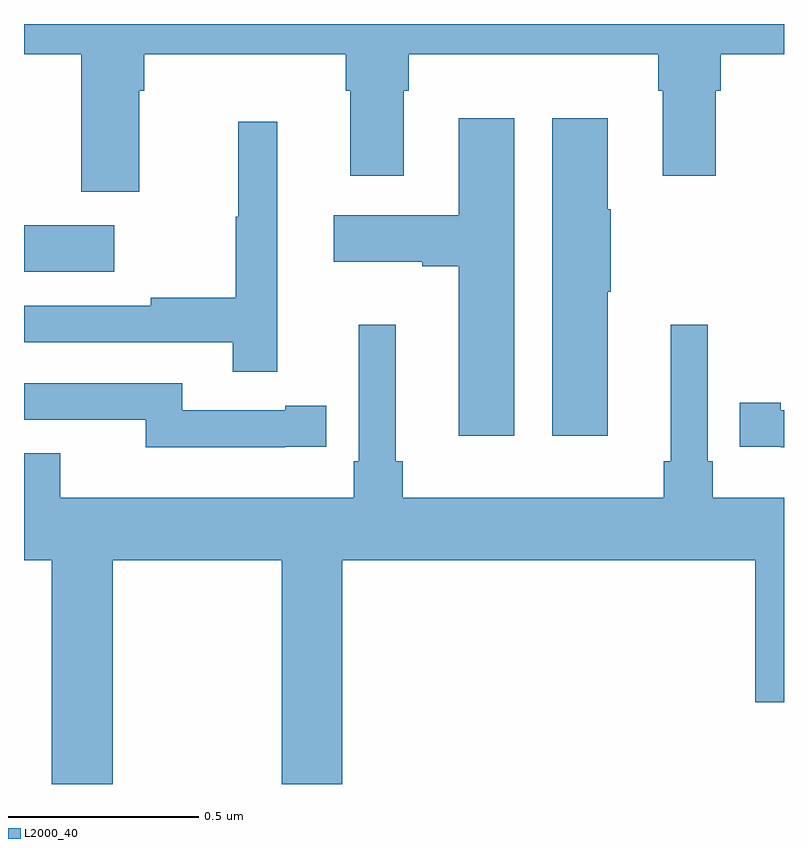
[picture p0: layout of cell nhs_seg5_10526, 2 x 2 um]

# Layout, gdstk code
import gdstk
lib = gdstk.Library(unit=1e-6, precision=1e-09)
def R(c, l, rs):  # rectangles x0, y0, x1, y1
    for r in rs: c.add(gdstk.rectangle(r[:2], r[2:], *l))
def P(c, l, *ps):  # polygons
    for p in ps: c.add(gdstk.Polygon(p, *l))
L2000_40 = (2000, 40)

nhs_seg5_10526 = lib.new_cell('nhs_seg5_10526')
R(nhs_seg5_10526, L2000_40, [(247,896.147,247.237,896.269)])
P(nhs_seg5_10526, L2000_40, [(247.303,896.624),(247.316,896.624),(247.316,896.72),(247.847,896.72),(247.847,896.624),(247.859,896.624),(247.859,896.4),(247.999,896.4),(247.999,896.624),(248.012,896.624),(248.012,896.72),(248.669,896.72),(248.669,896.624),(248.681,896.624),(248.681,896.4),(248.821,896.4),(248.821,896.624),(248.834,896.624),(248.834,896.72),(249,896.72),(249,896.799),(247,896.799),(247,896.72),(247.151,896.72),(247.151,896.358),(247.303,896.358)],
  [(248.536,896.095),(248.544,896.095),(248.544,896.312),(248.536,896.312),(248.536,896.551),(248.39,896.551),(248.39,895.716),(248.536,895.716)],
  [(248.29,896.551),(248.144,896.551),(248.144,896.296),(247.815,896.296),(247.815,896.174),(248.048,896.174),(248.048,896.162),(248.144,896.162),(248.144,895.716),(248.29,895.716)],
  [(247.666,896.542),(247.564,896.542),(247.564,896.292),(247.557,896.292),(247.557,896.078),(247.333,896.078),(247.333,896.058),(247,896.058),(247,895.962),(247.549,895.962),(247.549,895.884),(247.666,895.884)],
  [(247.233,895.388),(247.678,895.388),(247.678,894.799),(247.838,894.799),(247.838,895.388),(248.924,895.388),(248.924,895.014),(249,895.014),(249,895.552),(248.813,895.552),(248.813,895.648),(248.799,895.648),(248.799,896.008),(248.702,896.008),(248.702,895.648),(248.683,895.648),(248.683,895.552),(247.997,895.552),(247.997,895.648),(247.978,895.648),(247.978,896.008),(247.881,896.008),(247.881,895.648),(247.868,895.648),(247.868,895.552),(247.096,895.552),(247.096,895.669),(247,895.669),(247,895.388),(247.073,895.388),(247.073,894.799),(247.233,894.799)],
  [(247.688,895.686),(247.796,895.686),(247.796,895.795),(247.688,895.795),(247.688,895.782),(247.416,895.782),(247.416,895.854),(247,895.854),(247,895.758),(247.32,895.758),(247.32,895.685),(247.688,895.685)],
  [(249,895.782),(248.992,895.782),(248.992,895.802),(248.884,895.802),(248.884,895.686),(248.992,895.686),(248.992,895.685),(249,895.685)])

lib.write_gds('nhs_seg5_10526.gds')
